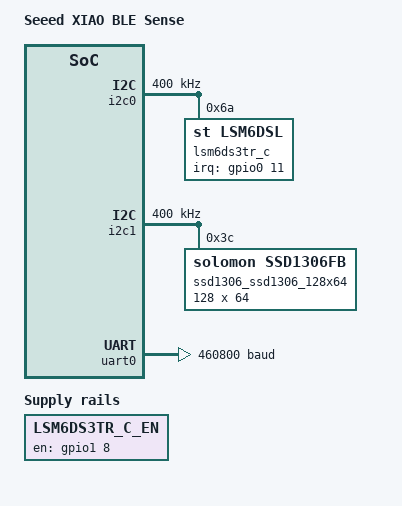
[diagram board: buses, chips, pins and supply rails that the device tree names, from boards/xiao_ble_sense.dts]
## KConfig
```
# SPDX-License-Identifier: Apache-2.0

mainmenu "LVGL_TEST_APP Configuration"

menu "APP CONFIG"
config SHIELD_SSD1306_128X64
    def_bool y
    prompt "SSD1306 128x64 OLED Display DO NOT CHANGE"
    help
        "This is set to default to true to activate the ssd1306 related configurations"
endmenu
# Your application configuration options go here

# Sources Kconfig.zephyr in the Zephyr root directory.
#
# Note: All 'source' statements work relative to the Zephyr root directory (due
# to the $srctree environment variable being set to $ZEPHYR_BASE). If you want
# to 'source' relative to the current Kconfig file instead, use 'rsource' (or a
# path relative to the Zephyr root).

source "boards/shields/ssd1306/Kconfig.defconfig"
source "Kconfig.zephyr"
```

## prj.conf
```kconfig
CONFIG_LV_Z_MEM_POOL_SIZE=16384
CONFIG_LV_Z_SHELL=y
CONFIG_MAIN_STACK_SIZE=2048

CONFIG_DISPLAY=y
CONFIG_DISPLAY_LOG_LEVEL_ERR=y

CONFIG_LOG=y
CONFIG_SHELL=y

CONFIG_LVGL=y
CONFIG_LV_MEM_CUSTOM=y
CONFIG_LV_USE_LOG=y
CONFIG_LV_USE_LABEL=y
CONFIG_LV_USE_BTN=y
CONFIG_LV_USE_ARC=y
CONFIG_LV_USE_IMG=y
CONFIG_LV_USE_MONKEY=y
CONFIG_LV_FONT_MONTSERRAT_14=y

# IMU sensor
CONFIG_STDOUT_CONSOLE=y
CONFIG_I2C=y
CONFIG_SPI=y
CONFIG_SENSOR=y
CONFIG_LSM6DSL_TRIGGER_GLOBAL_THREAD=y
CONFIG_CBPRINTF_FP_SUPPORT=y
# CONFIG_LV_Z_VDB_SIZE=64
# CONFIG_LV_DPI_DEF=146
# CONFIG_LV_Z_BITS_PER_PIXEL=1
# CONFIG_LV_COLOR_DEPTH_1=y
```

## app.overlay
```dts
/*
 * Copyright (c) 2019 PHYTEC Messtechnik GmbH
 *
 * SPDX-License-Identifier: Apache-2.0
 */
#define arduino_i2c i2c1
 / {
	chosen {
		zephyr,display = &ssd1306_ssd1306_128x64;
	};
	// aliases {
    //     arduino,i2c = &i2c1;
	// };
};



&arduino_i2c {
	status = "okay";

	ssd1306_ssd1306_128x64: ssd1306@3c {
		compatible = "solomon,ssd1306fb";
		reg = <0x3c>;
		width = <128>;
		height = <64>;
		segment-offset = <0>;
		page-offset = <0>;
		display-offset = <0>;
		multiplex-ratio = <63>;
		segment-remap;
		com-invdir;
		prechargep = <0x22>;
	};
};

// / {
// 	chosen {
// 		zephyr,display = &sh1106_sh1106_128x64;
// 	};
// };

// &arduino_i2c {
// 	status = "okay";

// 	sh1106_sh1106_128x64: ssd1306@3c {
// 		compatible = "sinowealth,sh1106";
// 		reg = <0x3c>;
// 		width = <128>;
// 		height = <64>;
// 		segment-offset = <2>;
// 		page-offset = <0>;
// 		display-offset = <0>;
// 		multiplex-ratio = <63>;
// 		segment-remap;
// 		com-invdir;
// 		prechargep = <0x22>;
// 		reset-gpios = <&gpio0 2 GPIO_ACTIVE_LOW>;
// 	};
// };

&temp {
	status = "okay";
};

&uart0 {
	current-speed = <460800>;
};
```

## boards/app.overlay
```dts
/*
 * Copyright (c) 2019 PHYTEC Messtechnik GmbH
 *
 * SPDX-License-Identifier: Apache-2.0
 */

 / {
	chosen {
		zephyr,display = &ssd1306_ssd1306_128x64;
	};
};

&arduino_i2c {
	status = "okay";

	ssd1306_ssd1306_128x64: ssd1306@3c {
		compatible = "solomon,ssd1306fb";
		reg = <0x3c>;
		width = <128>;
		height = <64>;
		segment-offset = <0>;
		page-offset = <0>;
		display-offset = <0>;
		multiplex-ratio = <63>;
		segment-remap;
		com-invdir;
		prechargep = <0x22>;
	};
};

&temp {
	status = "okay";
};
```

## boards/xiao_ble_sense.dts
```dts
/*
 * Copyright (c) 2022-2023 Marcin Niestroj
 *
 * SPDX-License-Identifier: Apache-2.0
 */

// /dts-v1/;
#include "xiao_ble_common.dtsi"
#include <zephyr/dt-bindings/i2c/i2c.h>
#include <zephyr/dt-bindings/gpio/nordic-nrf-gpio.h>

/ {
	model = "Seeed XIAO BLE Sense";
	compatible = "seeed,xiao-ble", "seeed,xiao-ble-sense";

	lsm6ds3tr-c-en {
		compatible = "regulator-fixed-sync", "regulator-fixed";
		enable-gpios = <&gpio1 8 (NRF_GPIO_DRIVE_S0H1 | GPIO_ACTIVE_HIGH)>;
		regulator-name = "LSM6DS3TR_C_EN";
		regulator-boot-on;
		startup-delay-us = <3000>;
	};

	chosen {
		zephyr,display = &ssd1306_ssd1306_128x64;
	};
};

&i2c0 {
	compatible = "nordic,nrf-twim";
	/* Cannot be used together with spi0. */
	status = "okay";
	pinctrl-0 = <&i2c0_default>;
	pinctrl-1 = <&i2c0_sleep>;
	pinctrl-names = "default", "sleep";
	clock-frequency = <I2C_BITRATE_FAST>;

	lsm6ds3tr_c: lsm6ds3tr-c@6a {
		compatible = "st,lsm6dsl";
		reg = <0x6a>;
		irq-gpios = <&gpio0 11 GPIO_ACTIVE_HIGH>;
		status = "okay";
	};
};

arduino_i2c: &i2c1 {
	clock-frequency = <I2C_BITRATE_FAST>;
};

&arduino_i2c {
	status = "okay";

	ssd1306_ssd1306_128x64: ssd1306@3c {
		compatible = "solomon,ssd1306fb";
		reg = <0x3c>;
		width = <128>;
		height = <64>;
		segment-offset = <0>;
		page-offset = <0>;
		display-offset = <0>;
		multiplex-ratio = <63>;
		segment-remap;
		com-invdir;
		prechargep = <0x22>;
	};

	clock-frequency = <I2C_BITRATE_FAST>;
};

&temp {
	status = "disabled";
};
	
&uart0 {
	current-speed = <460800>;
};
```

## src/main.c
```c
/*
 * Copyright (c) 2018 Jan Van Winkel <jan.van_winkel@dxplore.eu>
 *
 * SPDX-License-Identifier: Apache-2.0
 */

#include <zephyr/device.h>
#include <zephyr/devicetree.h>
#include <zephyr/drivers/display.h>
#include <zephyr/drivers/gpio.h>
#include <zephyr/drivers/sensor.h>
#include <lvgl.h>
#include <stdio.h>
#include <string.h>
#include <zephyr/kernel.h>
#include <lvgl_input_device.h>

#define LOG_LEVEL CONFIG_LOG_DEFAULT_LEVEL
#include <zephyr/logging/log.h>
LOG_MODULE_REGISTER(app);

static uint32_t count;

#ifdef CONFIG_GPIO
static struct gpio_dt_spec button_gpio = GPIO_DT_SPEC_GET_OR(
		DT_ALIAS(sw0), gpios, {0});
static struct gpio_callback button_callback;

static void button_isr_callback(const struct device *port,
				struct gpio_callback *cb,
				uint32_t pins)
{
	ARG_UNUSED(port);
	ARG_UNUSED(cb);
	ARG_UNUSED(pins);

	count = 0;
}
#endif /* CONFIG_GPIO */

#ifdef CONFIG_LV_Z_ENCODER_INPUT
static const struct device *lvgl_encoder =
	DEVICE_DT_GET(DT_COMPAT_GET_ANY_STATUS_OKAY(zephyr_lvgl_encoder_input));
#endif /* CONFIG_LV_Z_ENCODER_INPUT */

static void lv_btn_click_callback(lv_event_t *e)
{
	ARG_UNUSED(e);

	count = 0;
}




static inline float out_ev(struct sensor_value *val)
{
	return (val->val1 + (float)val->val2 / 1000000);
}

static int print_samples;
static int lsm6dsl_trig_cnt;

static struct sensor_value accel_x_out, accel_y_out, accel_z_out;
static struct sensor_value gyro_x_out, gyro_y_out, gyro_z_out;
#if defined(CONFIG_LSM6DSL_EXT0_LIS2MDL)
static struct sensor_value magn_x_out, magn_y_out, magn_z_out;
#endif
#if defined(CONFIG_LSM6DSL_EXT0_LPS22HB)
static struct sensor_value press_out, temp_out;
#endif

#ifdef CONFIG_LSM6DSL_TRIGGER
static void lsm6dsl_trigger_handler(const struct device *dev,
				    const struct sensor_trigger *trig)
{
	static struct sensor_value accel_x, accel_y, accel_z;
	static struct sensor_value gyro_x, gyro_y, gyro_z;
#if defined(CONFIG_LSM6DSL_EXT0_LIS2MDL)
	static struct sensor_value magn_x, magn_y, magn_z;
#endif
#if defined(CONFIG_LSM6DSL_EXT0_LPS22HB)
	static struct sensor_value press, temp;
#endif
	lsm6dsl_trig_cnt++;

	sensor_sample_fetch_chan(dev, SENSOR_CHAN_ACCEL_XYZ);
	sensor_channel_get(dev, SENSOR_CHAN_ACCEL_X, &accel_x);
	sensor_channel_get(dev, SENSOR_CHAN_ACCEL_Y, &accel_y);
	sensor_channel_get(dev, SENSOR_CHAN_ACCEL_Z, &accel_z);

	/* lsm6dsl gyro */
	sensor_sample_fetch_chan(dev, SENSOR_CHAN_GYRO_XYZ);
	sensor_channel_get(dev, SENSOR_CHAN_GYRO_X, &gyro_x);
	sensor_channel_get(dev, SENSOR_CHAN_GYRO_Y, &gyro_y);
	sensor_channel_get(dev, SENSOR_CHAN_GYRO_Z, &gyro_z);

#if defined(CONFIG_LSM6DSL_EXT0_LIS2MDL)
	/* lsm6dsl external magn */
	sensor_sample_fetch_chan(dev, SENSOR_CHAN_MAGN_XYZ);
	sensor_channel_get(dev, SENSOR_CHAN_MAGN_X, &magn_x);
	sensor_channel_get(dev, SENSOR_CHAN_MAGN_Y, &magn_y);
	sensor_channel_get(dev, SENSOR_CHAN_MAGN_Z, &magn_z);
#endif

#if defined(CONFIG_LSM6DSL_EXT0_LPS22HB)
	/* lsm6dsl external press/temp */
	sensor_sample_fetch_chan(dev, SENSOR_CHAN_PRESS);
	sensor_channel_get(dev, SENSOR_CHAN_PRESS, &press);

	sensor_sample_fetch_chan(dev, SENSOR_CHAN_AMBIENT_TEMP);
	sensor_channel_get(dev, SENSOR_CHAN_AMBIENT_TEMP, &temp);
#endif

	if (print_samples) {
		print_samples = 0;

		accel_x_out = accel_x;
		accel_y_out = accel_y;
		accel_z_out = accel_z;

		gyro_x_out = gyro_x;
		gyro_y_out = gyro_y;
		gyro_z_out = gyro_z;

#if defined(CONFIG_LSM6DSL_EXT0_LIS2MDL)
		magn_x_out = magn_x;
		magn_y_out = magn_y;
		magn_z_out = magn_z;
#endif

#if defined(CONFIG_LSM6DSL_EXT0_LPS22HB)
		press_out = press;
		temp_out = temp;
#endif
	}

}
#endif


int main(void)
{
	char count_str[11] = {0};
	const struct device *display_dev;
	lv_obj_t *hello_world_label;
	lv_obj_t *count_label;

	display_dev = DEVICE_DT_GET(DT_CHOSEN(zephyr_display));
	if (!device_is_ready(display_dev)) {
		LOG_ERR("Device not ready, aborting test");
		return 0;
	}

#ifdef CONFIG_GPIO
	if (gpio_is_ready_dt(&button_gpio)) {
		int err;

		err = gpio_pin_configure_dt(&button_gpio, GPIO_INPUT);
		if (err) {
			LOG_ERR("failed to configure button gpio: %d", err);
			return 0;
		}

		gpio_init_callback(&button_callback, button_isr_callback,
				   BIT(button_gpio.pin));

		err = gpio_add_callback(button_gpio.port, &button_callback);
		if (err) {
			LOG_ERR("failed to add button callback: %d", err);
			return 0;
		}

		err = gpio_pin_interrupt_configure_dt(&button_gpio,
						      GPIO_INT_EDGE_TO_ACTIVE);
		if (err) {
			LOG_ERR("failed to enable button callback: %d", err);
			return 0;
		}
	}
#endif /* CONFIG_GPIO */

#ifdef CONFIG_LV_Z_ENCODER_INPUT
	lv_obj_t *arc;
	lv_group_t *arc_group;

	arc = lv_arc_create(lv_scr_act());
	lv_obj_align(arc, LV_ALIGN_CENTER, 0, 0);
	lv_obj_set_size(arc, 150, 150);

	arc_group = lv_group_create();
	lv_group_add_obj(arc_group, arc);
	lv_indev_set_group(lvgl_input_get_indev(lvgl_encoder), arc_group);
#endif /* CONFIG_LV_Z_ENCODER_INPUT */

	if (IS_ENABLED(CONFIG_LV_Z_POINTER_KSCAN) || IS_ENABLED(CONFIG_LV_Z_POINTER_INPUT)) {
		lv_obj_t *hello_world_button;

		hello_world_button = lv_btn_create(lv_scr_act());
		lv_obj_align(hello_world_button, LV_ALIGN_CENTER, 0, 0);
		lv_obj_add_event_cb(hello_world_button, lv_btn_click_callback, LV_EVENT_CLICKED,
						NULL);
		hello_world_label = lv_label_create(hello_world_button);
	} else {
		hello_world_label = lv_label_create(lv_scr_act());
	}

	lv_label_set_text(hello_world_label, "kello world!");
	// lv_obj_align(hello_world_label, LV_ALIGN_TOP_LEFT, 0, 0);
    lv_label_set_long_mode(hello_world_label, LV_LABEL_LONG_WRAP);     /*Break the long lines*/
    lv_obj_set_width(hello_world_label, 128);  /*Set smaller width to make the lines wrap*/
    lv_obj_set_style_text_align(hello_world_label, LV_TEXT_ALIGN_LEFT, 0);
    lv_obj_align(hello_world_label, LV_ALIGN_TOP_LEFT, 0, 0);

	count_label = lv_label_create(lv_scr_act());
	lv_obj_align(count_label, LV_ALIGN_BOTTOM_MID, 0, 0);

	lv_task_handler();
	display_blanking_off(display_dev);


	int cnt = 0;
	char out_str[64];
	struct sensor_value odr_attr;
	const struct device *const lsm6dsl_dev = DEVICE_DT_GET_ONE(st_lsm6dsl);

	if (!device_is_ready(lsm6dsl_dev)) {
		printk("sensor: device not ready.\n");
		return 0;
	}

	/* set accel/gyro sampling frequency to 104 Hz */
	odr_attr.val1 = 104;
	odr_attr.val2 = 0;

	if (sensor_attr_set(lsm6dsl_dev, SENSOR_CHAN_ACCEL_XYZ,
			    SENSOR_ATTR_SAMPLING_FREQUENCY, &odr_attr) < 0) {
		printk("Cannot set sampling frequency for accelerometer.\n");
		return 0;
	}

	if (sensor_attr_set(lsm6dsl_dev, SENSOR_CHAN_GYRO_XYZ,
			    SENSOR_ATTR_SAMPLING_FREQUENCY, &odr_attr) < 0) {
		printk("Cannot set sampling frequency for gyro.\n");
		return 0;
	}

#ifdef CONFIG_LSM6DSL_TRIGGER
	struct sensor_trigger trig;

	trig.type = SENSOR_TRIG_DATA_READY;
	trig.chan = SENSOR_CHAN_ACCEL_XYZ;

	if (sensor_trigger_set(lsm6dsl_dev, &trig, lsm6dsl_trigger_handler) != 0) {
		printk("Could not set sensor type and channel\n");
		return 0;
	}
#endif

	if (sensor_sample_fetch(lsm6dsl_dev) < 0) {
		printk("Sensor sample update error\n");
		return 0;
	}

	while (1) {
		if ((count % 100) == 0U) {
			sprintf(count_str, "%d", lsm6dsl_trig_cnt);
			lv_label_set_text(count_label, count_str);
			sprintf(out_str, "a x:%.1f y:%.1f z:%.1f\ng x:%.1f y:%.1f z:%.1f\n",
							  out_ev(&accel_x_out),
							  out_ev(&accel_y_out),
							  out_ev(&accel_z_out),
							  out_ev(&gyro_x_out),
							  out_ev(&gyro_y_out),
							  out_ev(&gyro_z_out));
			lv_label_set_text(hello_world_label, out_str);
		}
		
		// printk("loop:%d trig_cnt:%d\n\n", ++cnt, lsm6dsl_trig_cnt);


		lv_task_handler();
		++count;
		print_samples = 1;

		k_sleep(K_MSEC(10));
	}
}
```

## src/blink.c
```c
#include <zephyr/kernel.h>
#include <zephyr/drivers/gpio.h>

#define MY_STACK_SIZE 500
#define MY_PRIORITY 5
#define SLEEP_TIME_MS 1000

#define LED0_NODE DT_ALIAS(led0)
static const struct gpio_dt_spec led = GPIO_DT_SPEC_GET(LED0_NODE, gpios);

#define LED1_NODE DT_ALIAS(led1)
static const struct gpio_dt_spec led1 = GPIO_DT_SPEC_GET(LED1_NODE, gpios);

int my_entry_point(void *, void *, void *)
{
    int ret;

	if (!gpio_is_ready_dt(&led)) {
		return 0;
	}

	ret = gpio_pin_configure_dt(&led, GPIO_OUTPUT_ACTIVE);

	if (ret < 0) {
		return 0;
	}

	while (1) {
		ret = gpio_pin_toggle_dt(&led);
		if (ret < 0) {
			return 0;
		}
		k_msleep(SLEEP_TIME_MS);
	}
	return 0;
}

K_THREAD_DEFINE(my_tid, MY_STACK_SIZE,
                my_entry_point, NULL, NULL, NULL,
                MY_PRIORITY, 0, 0);
```
